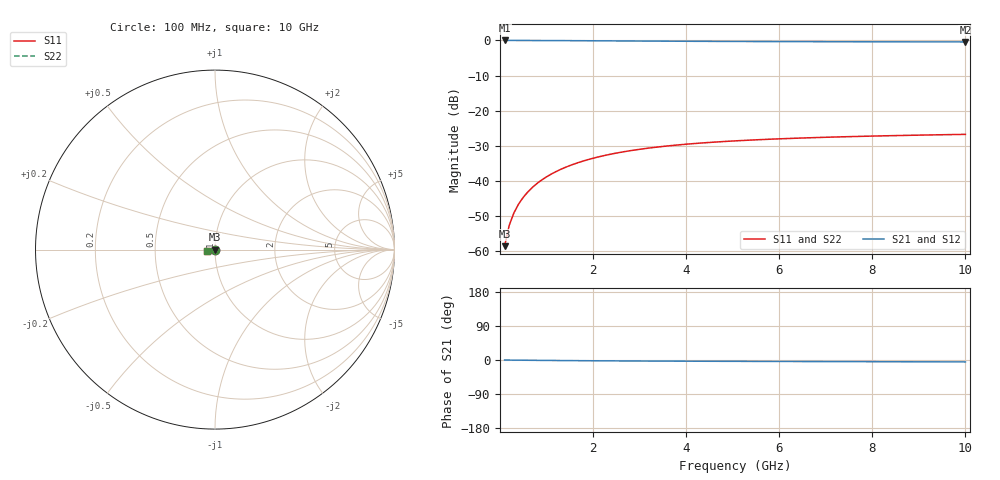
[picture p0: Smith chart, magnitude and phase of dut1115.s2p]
! Touchstone file exported from HFSS 2024.1.0
!  File:  C:/UserFiles/LocalFiles/RDL_TSV_Batchsim/temp_TSV1_1115_1780068520.aedt
!  Generated:  11:34:43 PM May 29, 2026
!  Design:  TSV1
!  Project:  temp_TSV1_1115_1780068520
!  Setup:  Setup1
!  Solution:  Sweep
! Variables:
!  dtsv = 9.36um
!  hbump = 3um
!  htsv = 79.91um
!  lrdl = 252.1521522um
!  p = 40
!  p1 = 43.31um
!  t = 500um
!  trdl = 3um
!  wrdl = 24.89489489um
# GHz S MA R 50.000000
! Terminal data exported
! Port[1] = TSV22_T1
! Port[2] = TSV22_T2
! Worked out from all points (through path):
!   100 points, 100 MHz to 10 GHz, reference 50 ohm
!   highest |S21| = 0.00 dB at 100 MHz (marker M1); lowest = -0.4 dB at 10 GHz (marker M2)
!   lowest |S11| = -58.6 dB at 100 MHz (marker M3), VSWR 1.00, Z = 50 - j0.117 ohm
!   |S11| at or under -10 dB: start of sweep to end of sweep
!   |S22| runs from -58.6 to -26.7 dB; largest |S21 - S12| = 7.4e-15
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0.1  0.001178 -83.4  0.9998 -0.1  0.9998 -0.1  0.001178 -83.4
! Gamma 0 0 0 0
! Port Impedance 50 0 50 0
0.2  0.002341 -88.9  0.9997 -0.2  0.9997 -0.2  0.002341 -88.9
0.3  0.00351 -91.8  0.9995 -0.3  0.9995 -0.3  0.00351 -91.8
0.4  0.004675 -94.1  0.9993 -0.5  0.9993 -0.5  0.004675 -94.1
0.5  0.005834 -96.1  0.9989 -0.6  0.9989 -0.6  0.005834 -96.1
0.6  0.006982 -98.0  0.9986 -0.7  0.9986 -0.7  0.006982 -98.0
0.7  0.008116 -99.8  0.9982 -0.8  0.9982 -0.8  0.008116 -99.8
0.8  0.009236 -101.5  0.9977 -0.9  0.9977 -0.9  0.009236 -101.5
0.9  0.01034 -103.2  0.9972 -1.0  0.9972 -1.0  0.01034 -103.2
1.1  0.01249 -106.4  0.996 -1.2  0.996 -1.2  0.01249 -106.4
1.4  0.01555 -111.0  0.994 -1.5  0.994 -1.5  0.01555 -111.0
1.6  0.01747 -113.9  0.9924 -1.7  0.9924 -1.7  0.01747 -113.9
1.8  0.0193 -116.8  0.9909 -1.9  0.9909 -1.9  0.0193 -116.8
2.1  0.02185 -120.8  0.9884 -2.1  0.9884 -2.1  0.02185 -120.8
2.5  0.0249 -125.7  0.985 -2.4  0.985 -2.4  0.0249 -125.7
2.9  0.02757 -130.3  0.9818 -2.6  0.9818 -2.6  0.02757 -130.3
3.4  0.03045 -135.5  0.9779 -2.9  0.9779 -2.9  0.03045 -135.5
4.2  0.03415 -142.7  0.9724 -3.2  0.9724 -3.2  0.03415 -142.7
5.1  0.03731 -149.5  0.9674 -3.5  0.9674 -3.5  0.03731 -149.5
6.7  0.04125 -159.2  0.9607 -4.1  0.9607 -4.1  0.04125 -159.2
8.4  0.04406 -167.4  0.9559 -4.6  0.9559 -4.6  0.04406 -167.4
10  0.04602 -173.7  0.9527 -5.1  0.9527 -5.1  0.04602 -173.7
